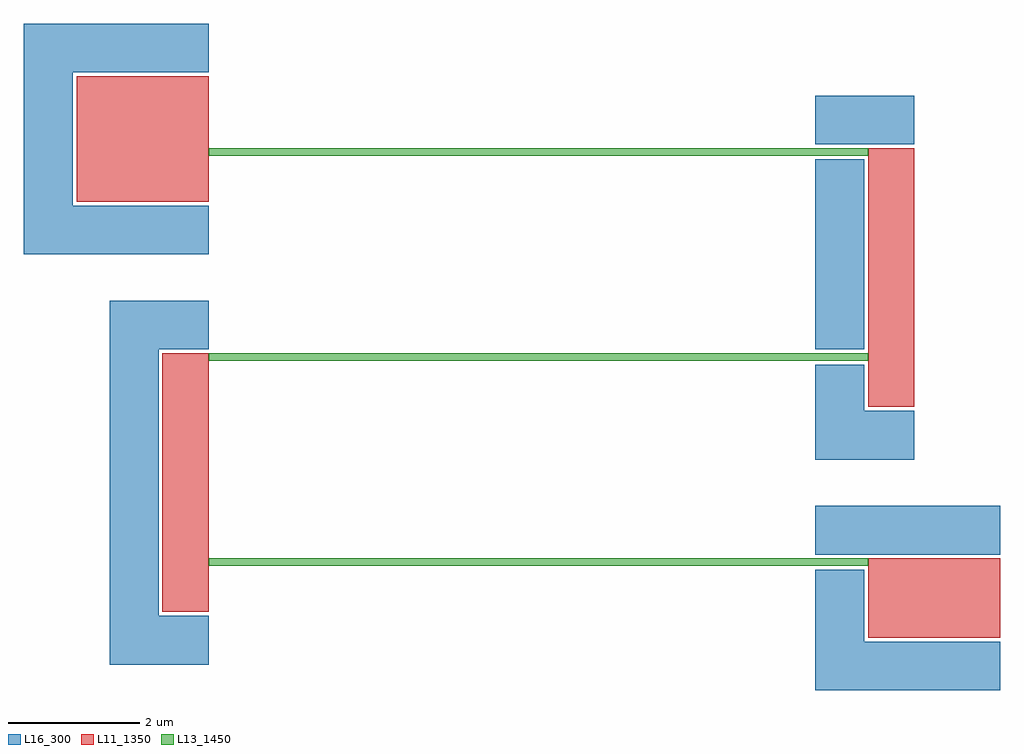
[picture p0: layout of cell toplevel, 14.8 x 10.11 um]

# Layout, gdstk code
import gdstk
lib = gdstk.Library(unit=1e-6, precision=1e-09)
def R(c, l, rs):  # rectangles x0, y0, x1, y1
    for r in rs: c.add(gdstk.rectangle(r[:2], r[2:], *l))
def P(c, l, *ps):  # polygons
    for p in ps: c.add(gdstk.Polygon(p, *l))
L11_1350 = (11, 1350)
L13_1450 = (13, 1450)
L16_300 = (16, 300)

rectangle006 = lib.new_cell('rectangle006')
R(rectangle006, L11_1350, [(0,0,0.7,3.22)])

rectangle007 = lib.new_cell('rectangle007')
R(rectangle007, L11_1350, [(0,-0.7,0.7,0)])

arm_connector = lib.new_cell('Arm connector')
arm_connector.add(gdstk.Reference(rectangle006, (-0.7,-6.22)))
arm_connector.add(gdstk.Reference(rectangle007, (-0.7,-6.22)))

rectangle009 = lib.new_cell('rectangle009')
R(rectangle009, L11_1350, [(0,0,0.7,3.22)])

rectangle010 = lib.new_cell('rectangle010')
R(rectangle010, L11_1350, [(0,-0.7,0.7,0)])

arm_connector008 = lib.new_cell('Arm connector008')
arm_connector008.add(gdstk.Reference(rectangle009, (10,-3.11)))
arm_connector008.add(gdstk.Reference(rectangle010, (10,-3.11)))

arms = lib.new_cell('Arms')
arms.add(gdstk.Reference(arm_connector, (0,0)))
arms.add(gdstk.Reference(arm_connector008, (0,0)))

rectangle = lib.new_cell('rectangle')
R(rectangle, L13_1450, [(0,0,10,0.11)])

resistive_segment = lib.new_cell('Resistive segment')
resistive_segment.add(gdstk.Reference(rectangle, (0,0)))

rectangle003 = lib.new_cell('rectangle003')
R(rectangle003, L13_1450, [(0,0,10,0.11)])

resistive_segment002 = lib.new_cell('Resistive segment002')
resistive_segment002.add(gdstk.Reference(rectangle003, (0,-3.11)))

rectangle005 = lib.new_cell('rectangle005')
R(rectangle005, L13_1450, [(0,0,10,0.11)])

resistive_segment004 = lib.new_cell('Resistive segment004')
resistive_segment004.add(gdstk.Reference(rectangle005, (0,-6.22)))

resistive_segments = lib.new_cell('Resistive segments')
resistive_segments.add(gdstk.Reference(resistive_segment, (0,0)))
resistive_segments.add(gdstk.Reference(resistive_segment002, (0,0)))
resistive_segments.add(gdstk.Reference(resistive_segment004, (0,0)))

boolean = lib.new_cell('boolean')
P(boolean, L16_300, [(0.7,-0.76),(-0.06,-0.76),(-0.06,3.28),(0.7,3.28),(0.7,4.02),(-0.8,4.02),(-0.8,-1.5),(0.7,-1.5)])

undercut = lib.new_cell('Undercut')
undercut.add(gdstk.Reference(boolean, (-0.7,-6.22)))

boolean011 = lib.new_cell('boolean011')
R(boolean011, L16_300, [(9.2,-2.94,9.94,-0.06), (9.2,0.17,10.7,0.91)])
P(boolean011, L16_300, [(10.7,-3.87),(9.94,-3.87),(9.94,-3.17),(9.2,-3.17),(9.2,-4.61),(10.7,-4.61)])

boolean015 = lib.new_cell('boolean015')
P(boolean015, L16_300, [(0,-0.76),(-2.06,-0.76),(-2.06,1.26),(0,1.26),(0,2),(-2.8,2),(-2.8,-1.5),(0,-1.5)])

boolean018 = lib.new_cell('boolean018')
R(boolean018, L16_300, [(9.2,-6.05,12,-5.31)])
P(boolean018, L16_300, [(12,-7.37),(9.94,-7.37),(9.94,-6.28),(9.2,-6.28),(9.2,-8.11),(12,-8.11)])

undercut012 = lib.new_cell('Undercut012')
undercut012.add(gdstk.Reference(boolean015, (0,0)))
undercut012.add(gdstk.Reference(boolean018, (0,0)))

liftoff_undercut = lib.new_cell('Liftoff undercut')
liftoff_undercut.add(gdstk.Reference(undercut, (0,0)))
liftoff_undercut.add(gdstk.Reference(boolean011, (0,0)))
liftoff_undercut.add(gdstk.Reference(undercut012, (0,0)))

rectangle013 = lib.new_cell('rectangle013')
R(rectangle013, L11_1350, [(-2,0,0,1.2)])

connector = lib.new_cell('Connector')
connector.add(gdstk.Reference(rectangle013, (0,0)))

rectangle014 = lib.new_cell('rectangle014')
R(rectangle014, L11_1350, [(-2,-0.7,0,0)])

top_connector = lib.new_cell('Top connector')
top_connector.add(gdstk.Reference(connector, (0,0)))
top_connector.add(gdstk.Reference(rectangle014, (0,0)))

rectangle017 = lib.new_cell('rectangle017')
R(rectangle017, L11_1350, [(-2,0,0,1.2)])

connector016 = lib.new_cell('Connector016')
connector016.add(gdstk.Reference(rectangle017, (12,-7.31)))

bot_connector = lib.new_cell('Bot connector')
bot_connector.add(gdstk.Reference(connector016, (0,0)))

toplevel = lib.new_cell('toplevel')
toplevel.add(gdstk.Reference(arms, (0,0)))
toplevel.add(gdstk.Reference(resistive_segments, (0,0)))
toplevel.add(gdstk.Reference(liftoff_undercut, (0,0)))
toplevel.add(gdstk.Reference(top_connector, (0,0)))
toplevel.add(gdstk.Reference(bot_connector, (0,0)))

lib.write_gds('toplevel.gds')
